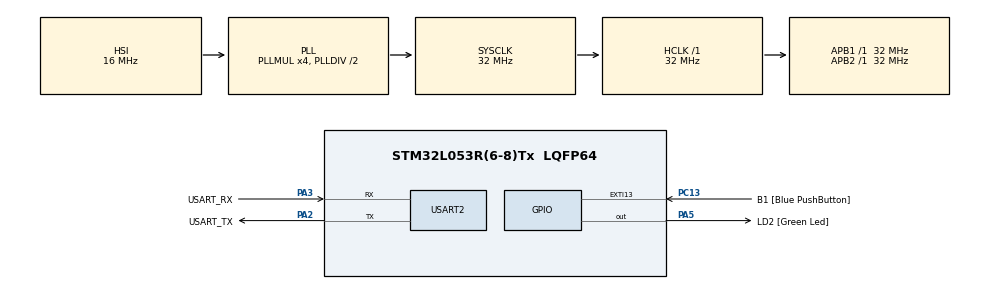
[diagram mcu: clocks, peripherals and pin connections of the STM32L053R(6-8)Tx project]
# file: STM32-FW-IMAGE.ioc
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Mcu.Family=STM32L0
Mcu.Name=STM32L053R(6-8)Tx
Mcu.Package=LQFP64
NVIC.USART2_IRQn=true\:0\:0\:false\:false\:true\:true\:true\:true
PA13.GPIO_Label=TMS
PA13.Mode=Serial_Wire
PA13.Signal=SYS_SWDIO
PA14.GPIO_Label=TCK
PA14.Mode=Serial_Wire
PA14.Signal=SYS_SWCLK
PA2.GPIO_Label=USART_TX
PA2.Mode=Asynchronous
PA2.Signal=USART2_TX
PA3.GPIO_Label=USART_RX
PA3.Mode=Asynchronous
PA3.Signal=USART2_RX
PA5.GPIO_Label=LD2 [Green Led]
PA5.Signal=GPIO_Output
PC13.GPIO_Label=B1 [Blue PushButton]
PC13.GPIO_ModeDefaultEXTI=GPIO_MODE_IT_FALLING
PC13.Signal=GPXTI13
PC14-OSC32_IN.Mode=LSE-External-Oscillator
PC14-OSC32_IN.Signal=RCC_OSC32_IN
PC15-OSC32_OUT.Mode=LSE-External-Oscillator
PC15-OSC32_OUT.Signal=RCC_OSC32_OUT
PH0-OSC_IN.Mode=HSE-External-Clock-Source
PH0-OSC_IN.Signal=RCC_OSC_IN
PH1-OSC_OUT.Signal=RCC_OSC_OUT
ProjectManager.HeapSize=0x200
ProjectManager.StackSize=0x400
ProjectManager.TargetToolchain=CMake
RCC.AHBFreq_Value=32000000
RCC.APB1Freq_Value=32000000
RCC.APB1TimFreq_Value=32000000
RCC.APB2Freq_Value=32000000
RCC.APB2TimFreq_Value=32000000
RCC.HCLKFreq_Value=32000000
RCC.HSE_VALUE=8000000
RCC.HSI16_VALUE=16000000
RCC.HSI48_VALUE=48000000
RCC.HSI_VALUE=16000000
RCC.MSI_VALUE=2097000
RCC.PLLMUL=RCC_PLLMUL_4
RCC.SYSCLKFreq_VALUE=32000000
RCC.SYSCLKSource=RCC_SYSCLKSOURCE_PLLCLK
RCC.VCOOutputFreq_Value=64000000
USART2.VirtualMode-Asynchronous=VM_ASYNC
board=NUCLEO-L053R8

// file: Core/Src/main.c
/* USER CODE BEGIN Header */
/**
  ******************************************************************************
  * @file           : main.c
  * @brief          : Main program body
  ******************************************************************************
  * @attention
  *
  * Copyright (c) 2026 STMicroelectronics.
  * All rights reserved.
  *
  * This software is licensed under terms that can be found in the LICENSE file
  * in the root directory of this software component.
  * If no LICENSE file comes with this software, it is provided AS-IS.
  *
  ******************************************************************************
  */
/* USER CODE END Header */
#include "main.h"
#include "stm32l053xx.h"
#include "stm32l0xx_hal_gpio.h"

/* USER CODE BEGIN PTD */
typedef struct FirmwareHeader_TypeDef {
	uint32_t MagicNumber;
	uint32_t DeviceID;
	uint32_t Version;
	uint32_t Size;
	uint32_t Signature_R[8];
	uint32_t Signature_S[8];
	uint32_t Reserved[43];
	uint32_t CRC32;
} FirmwareHeader_TypeDef;
/* USER CODE END PTD */

/* USER CODE BEGIN PD */
#define USER_FLASH_SIZE                     (0x10000U)
#define BOOTLOADER_SIZE                     (0x5000U)                                                              // 20 KByte -> (20480 Byte) (0x5000)
#define MAX_FIRMWARE_IMAGE_SIZE             ((USER_FLASH_SIZE - BOOTLOADER_SIZE) / 2)                              // 44 (45056 Byte) / 2 -> (22528 Byte) (0x5800)

#define FIRMWARE_IMAGE_START_ADDRESS_BANK_1 (FLASH_BASE + BOOTLOADER_SIZE)                                         // 0x08000000 + 0x5000 (0x08005000)
#define FIRMWARE_ENTRY_POINT_ADDRESS_BANK_1 (FIRMWARE_IMAGE_START_ADDRESS_BANK_1 + sizeof(FirmwareHeader_TypeDef)) // 0x08005000 + 0x0100 (0x08005100)
#define FIRMWARE_IMAGE_START_ADDRESS_BANK_2 (FIRMWARE_IMAGE_START_ADDRESS_BANK_1 + MAX_FIRMWARE_IMAGE_SIZE)        // 0x08005000 + 0x5800 (0x0800A800)
#define FIRMWARE_ENTRY_POINT_ADDRESS_BANK_2 (FIRMWARE_IMAGE_START_ADDRESS_BANK_2 + sizeof(FirmwareHeader_TypeDef)) // 0x0800A800 + 0x0100 (0x0800A900)
/* USER CODE END PD */

UART_HandleTypeDef huart2;

__attribute__((section(".firmware_header"), used))
static const FirmwareHeader_TypeDef firmware_header = {
	.MagicNumber       = 0x5A5A5A5A,
	.DeviceID          = 0x1,
	.Version           = 0xFFFFFFFF,
	.Size	           = 0xFFFFFFFF,
	.Signature_R       = { [0 ...  7] = 0x0 },
	.Signature_S       = { [0 ...  7] = 0x0 },
	.Reserved 	       = { [0 ... 42] = 0xFFFFFFFF },
	.CRC32			   = 0xFFFFFFFF
};

void SystemClock_Config(void);
static void MX_GPIO_Init(void);
static void MX_USART2_UART_Init(void);

int main(void)
{

	/* USER CODE BEGIN 1 */
	__enable_irq();
	/* USER CODE END 1 */

	/* MCU Configuration--------------------------------------------------------*/

	/* Reset of all peripherals, Initializes the Flash interface and the Systick. */
	HAL_Init();

	/* Configure the system clock */
	SystemClock_Config();

	/* Initialize all configured peripherals */
	MX_GPIO_Init();
	MX_USART2_UART_Init();

	/* Infinite loop */
	while (1)
	{
		HAL_GPIO_TogglePin(LD2_GPIO_Port, LD2_Pin);
		HAL_Delay(500);
	}
}

void SystemClock_Config(void)
{
	RCC_OscInitTypeDef RCC_OscInitStruct = {0};
	RCC_ClkInitTypeDef RCC_ClkInitStruct = {0};
	RCC_PeriphCLKInitTypeDef PeriphClkInit = {0};

	/** Configure the main internal regulator output voltage
	*/
	__HAL_PWR_VOLTAGESCALING_CONFIG(PWR_REGULATOR_VOLTAGE_SCALE1);

	/** Initializes the RCC Oscillators according to the specified parameters
	* in the RCC_OscInitTypeDef structure.
	*/
	RCC_OscInitStruct.OscillatorType = RCC_OSCILLATORTYPE_HSI;
	RCC_OscInitStruct.HSIState = RCC_HSI_ON;
	RCC_OscInitStruct.HSICalibrationValue = RCC_HSICALIBRATION_DEFAULT;
	RCC_OscInitStruct.PLL.PLLState = RCC_PLL_ON;
	RCC_OscInitStruct.PLL.PLLSource = RCC_PLLSOURCE_HSI;
	RCC_OscInitStruct.PLL.PLLMUL = RCC_PLLMUL_4;
	RCC_OscInitStruct.PLL.PLLDIV = RCC_PLLDIV_2;
	if (HAL_RCC_OscConfig(&RCC_OscInitStruct) != HAL_OK)
	{
		Error_Handler();
	}

	/** Initializes the CPU, AHB and APB buses clocks
	*/
	RCC_ClkInitStruct.ClockType =
		RCC_CLOCKTYPE_HCLK   |
		RCC_CLOCKTYPE_SYSCLK |
		RCC_CLOCKTYPE_PCLK1  |
		RCC_CLOCKTYPE_PCLK2;
	RCC_ClkInitStruct.SYSCLKSource = RCC_SYSCLKSOURCE_PLLCLK;
	RCC_ClkInitStruct.AHBCLKDivider = RCC_SYSCLK_DIV1;
	RCC_ClkInitStruct.APB1CLKDivider = RCC_HCLK_DIV1;
	RCC_ClkInitStruct.APB2CLKDivider = RCC_HCLK_DIV1;
	if (HAL_RCC_ClockConfig(&RCC_ClkInitStruct, FLASH_LATENCY_1) != HAL_OK)
	{
		Error_Handler();
	}

	PeriphClkInit.PeriphClockSelection = RCC_PERIPHCLK_USART2;
	PeriphClkInit.Usart2ClockSelection = RCC_USART2CLKSOURCE_PCLK1;
	if (HAL_RCCEx_PeriphCLKConfig(&PeriphClkInit) != HAL_OK)
	{
		Error_Handler();
	}
}

static void MX_USART2_UART_Init(void)
{

	huart2.Instance = USART2;
	huart2.Init.BaudRate = 115200;
	huart2.Init.WordLength = UART_WORDLENGTH_8B;
	huart2.Init.StopBits = UART_STOPBITS_1;
	huart2.Init.Parity = UART_PARITY_NONE;
	huart2.Init.Mode = UART_MODE_TX_RX;
	huart2.Init.HwFlowCtl = UART_HWCONTROL_NONE;
	huart2.Init.OverSampling = UART_OVERSAMPLING_16;
	huart2.Init.OneBitSampling = UART_ONE_BIT_SAMPLE_DISABLE;
	huart2.AdvancedInit.AdvFeatureInit = UART_ADVFEATURE_NO_INIT;
	if (HAL_UART_Init(&huart2) != HAL_OK)
	{
		Error_Handler();
	}
}

static void MX_GPIO_Init(void)
{
	GPIO_InitTypeDef GPIO_InitStruct = {0};

	/* GPIO Ports Clock Enable */
	__HAL_RCC_GPIOC_CLK_ENABLE();
	__HAL_RCC_GPIOH_CLK_ENABLE();
	__HAL_RCC_GPIOA_CLK_ENABLE();

	/*Configure GPIO pin Output Level */
	HAL_GPIO_WritePin(LD2_GPIO_Port, LD2_Pin, GPIO_PIN_RESET);

	/*Configure GPIO pin : B1_Pin */
	GPIO_InitStruct.Pin = B1_Pin;
	GPIO_InitStruct.Mode = GPIO_MODE_IT_FALLING;
	GPIO_InitStruct.Pull = GPIO_NOPULL;
	HAL_GPIO_Init(B1_GPIO_Port, &GPIO_InitStruct);

	/*Configure GPIO pin : LD2_Pin */
	GPIO_InitStruct.Pin = LD2_Pin;
	GPIO_InitStruct.Mode = GPIO_MODE_OUTPUT_PP;
	GPIO_InitStruct.Pull = GPIO_NOPULL;
	GPIO_InitStruct.Speed = GPIO_SPEED_FREQ_LOW;
	HAL_GPIO_Init(LD2_GPIO_Port, &GPIO_InitStruct);

}

void Error_Handler(void)
{
	__disable_irq();
	while (1)
	{
	}
}
